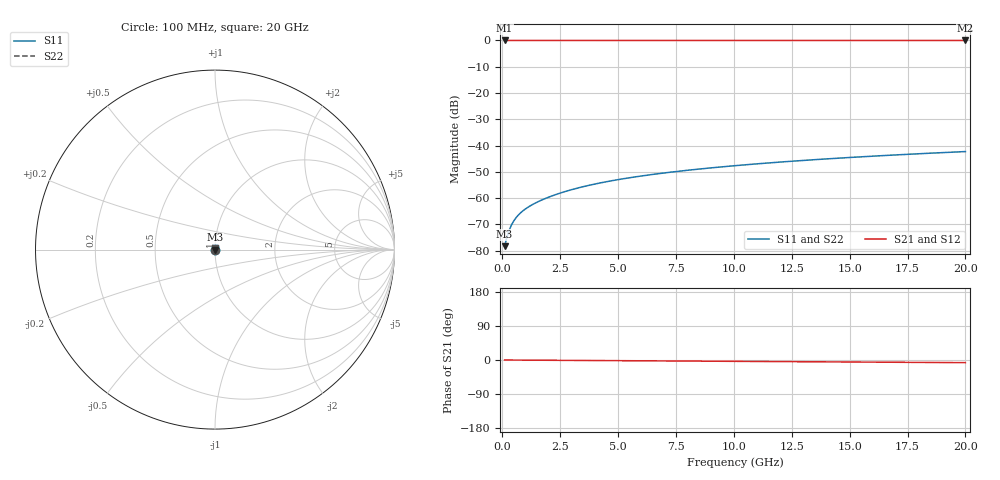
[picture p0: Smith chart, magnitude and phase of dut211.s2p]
! Touchstone file exported from HFSS 2026.1.0
!  File:  C:/ffzhzh/LocalFiles/Ansys_Project_Files/temp_train_TSV_211_1782991978_41620.aedt
!  Generated:  07:34:25 PM Jul  2, 2026
!  Design:  TSV
!  Project:  temp_train_TSV_211_1782991978_41620
! Variables:
!  h_bsmrdl = 2um
!  h_ox = 20um
!  h_rdl = 5um
!  h_sub = 67.48um
!  h_tmrdl = 5um
!  h_tsv = 67.48um
!  h_via = 3um
!  l_bsmrdl = 300um
!  l_sub = 422.22um
!  l_tmrdl = 200um
!  m_sub = 200um
!  pitch = 47.42um
!  r_tsv = 11.11um
!  s_tmrdl = 10um
!  w_bsmrdl = 18um
!  w_sub = 500um
!  w_tmrdl = 12um
!  x_tsv_center1 = 206um
!  x_tsv_center2 = 524um
!  x_tsv_center3 = 736um
!  x_tsv_center4 = 1054um
!  x_tsv_center5 = 1266um
!  x_tsv_center6 = 1584um
# GHz S MA R 50.000000
! Terminal data exported
! Port[1] = TSV1_1_T1
! Port[2] = TSV1_1_T2
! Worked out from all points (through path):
!   200 points, 100 MHz to 20 GHz, reference 50 ohm
!   highest |S21| = 0.00 dB at 100 MHz (marker M1); lowest = 0.0 dB at 20 GHz (marker M2)
!   lowest |S11| = -78.3 dB at 100 MHz (marker M3), VSWR 1.00, Z = 50 + j0.00742 ohm
!   |S11| at or under -10 dB: start of sweep to end of sweep
!   |S22| runs from -78.3 to -42.3 dB; largest |S21 - S12| = 4.5e-15
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0.1  0.0001212 37.7  0.9999 -0.0  0.9999 -0.0  0.0001212 37.7
! Gamma 0 0 0 0
! Port Impedance 50 0 50 0
0.2  0.0001805 53.9  0.9999 -0.1  0.9999 -0.1  0.0001805 53.9
0.3  0.0002457 60.2  0.9999 -0.1  0.9999 -0.1  0.0002457 60.2
0.4  0.0003093 62.9  0.9999 -0.1  0.9999 -0.1  0.0003093 62.9
0.5  0.0003694 64.1  0.9998 -0.2  0.9998 -0.2  0.0003694 64.1
0.6  0.0004256 64.8  0.9998 -0.2  0.9998 -0.2  0.0004256 64.8
0.7  0.0004781 65.2  0.9998 -0.3  0.9998 -0.3  0.0004781 65.2
0.9  0.0005748 65.9  0.9998 -0.3  0.9998 -0.3  0.0005748 65.9
1.1  0.0006641 66.7  0.9997 -0.4  0.9997 -0.4  0.0006641 66.7
1.3  0.0007494 67.6  0.9997 -0.5  0.9997 -0.5  0.0007494 67.6
1.6  0.000874 68.8  0.9997 -0.6  0.9997 -0.6  0.000874 68.8
1.9  0.0009972 70.0  0.9997 -0.7  0.9997 -0.7  0.0009972 70.0
2.6  0.001283 72.1  0.9996 -0.9  0.9996 -0.9  0.001283 72.1
3.5  0.001649 73.7  0.9996 -1.2  0.9996 -1.2  0.001649 73.7
4.2  0.001928 74.4  0.9995 -1.5  0.9995 -1.5  0.001928 74.4
5  0.002242 75.0  0.9995 -1.8  0.9995 -1.8  0.002242 75.0
6.8  0.00293 75.7  0.9994 -2.4  0.9994 -2.4  0.00293 75.7
8.3  0.003489 76.0  0.9993 -2.9  0.9993 -2.9  0.003489 76.0
10.1  0.004151 76.2  0.9993 -3.6  0.9993 -3.6  0.004151 76.2
13.4  0.005345 76.2  0.9991 -4.7  0.9991 -4.7  0.005345 76.2
16.7  0.006518 75.8  0.999 -5.9  0.999 -5.9  0.006518 75.8
20  0.007666 75.2  0.9989 -7.0  0.9989 -7.0  0.007666 75.2
